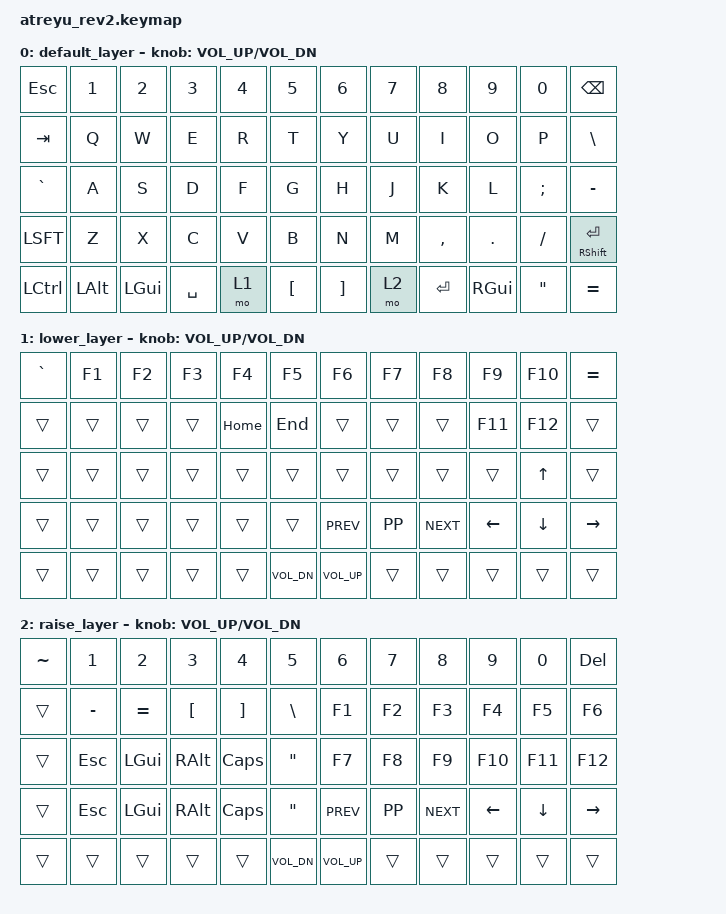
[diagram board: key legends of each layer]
/*
 * Copyright (c) 2020 The ZMK Contributors
 *
 * SPDX-License-Identifier: MIT
 */

#include <behaviors.dtsi>
#include <dt-bindings/zmk/keys.h>
#include <dt-bindings/zmk/bt.h>
#include <dt-bindings/zmk/rgb.h>

/ {
        keymap {
                compatible = "zmk,keymap";

                default_layer {
                        bindings = <
   &kp ESC   &kp N1  &kp N2   &kp N3   &kp N4  &kp N5    &kp N6 &kp N7    &kp N8    &kp N9  &kp N0   &kp BSPC
   &kp TAB   &kp Q   &kp W    &kp E    &kp R   &kp T     &kp Y  &kp U     &kp I     &kp O   &kp P    &kp BSLH
   &kp GRAVE &kp A   &kp S    &kp D    &kp F   &kp G     &kp H  &kp J     &kp K     &kp L   &kp SEMI &kp MINUS
   &kp LSFT  &kp Z   &kp X    &kp C    &kp V   &kp B     &kp N  &kp M     &kp COMMA &kp DOT &kp FSLH &mt RSHFT RET
   &kp LCTL &kp LALT &kp LGUI &kp SPACE  &mo 1 &kp LBKT &kp RBKT &mo 2   &kp RET   &kp RGUI &kp DQT &kp EQUAL
                        >;
			sensor-bindings = <&inc_dec_kp C_VOL_UP C_VOL_DN>;
                };

                lower_layer {
                        bindings = <
   &kp GRAVE &kp F1 &kp F2 &kp F3 &kp F4 &kp F5   &kp F6        &kp F7    &kp F8   &kp F9    &kp F10     &kp EQUAL
   &trans    &trans &trans &trans &kp HOME &kp END       &trans    &trans    &trans    &kp F11    &kp F12  &trans
   &trans    &trans &trans &trans &trans   &trans        &trans    &trans    &trans    &trans     &kp UP    &trans
   &trans    &trans &trans &trans &trans   &trans       &kp K_PREV &kp K_PP &kp K_NEXT &kp LEFT   &kp DOWN  &kp RIGHT
   &trans    &trans &trans &trans &trans  &kp K_VOL_DN &kp K_VOL_UP &trans    &trans    &trans     &trans    &trans
                        >;
			sensor-bindings = <&inc_dec_kp C_VOL_UP C_VOL_DN>;
                };

                raise_layer {
// -----------------------------------------------------------------------------------------
// |    |  1  |  2  |  3  |  4  |  5  |   |  6  |  7  |  8  |  9  |  0  | DEL |
// |    |  -  |  =  |  [  |  ]  |  \  |   | F1  | F2  | F3  | F4  | F5  | F6  |
// |    | ESC | GUI | ALT | CAPS|  "  |   | F7  | F8  | F9  | F10 | F11 | F12 |
//                       |     | ADJ | BKSP |    |     |
                        bindings = <
   &kp TILDE &kp N1    &kp N2    &kp N3    &kp N4    &kp N5        &kp N6       &kp N7    &kp N8    &kp N9    &kp N0    &kp DEL
   &trans    &kp MINUS &kp EQUAL &kp LBKT  &kp RBKT  &kp BSLH      &kp F1       &kp F2    &kp F3    &kp F4    &kp F5    &kp F6
   &trans    &kp ESC   &kp LGUI  &kp RALT  &kp CLCK  &kp DQT       &kp F7       &kp F8    &kp F9    &kp F10   &kp F11   &kp F12
   &trans    &kp ESC   &kp LGUI  &kp RALT  &kp CLCK  &kp DQT       &kp K_PREV   &kp K_PP &kp K_NEXT &kp LEFT   &kp DOWN  &kp RIGHT
   &trans    &trans &trans &trans &trans   &kp K_VOL_DN          &kp K_VOL_UP &trans    &trans    &trans     &trans    &trans
//                                &trans      &trans       &kp BSPC        &trans      &trans
                        >;
			sensor-bindings = <&inc_dec_kp C_VOL_UP C_VOL_DN>;
                };
//                adjust_layer {
// -----------------------------------------------------------------------------------------
// | RGB BRI+ | RGB SAT+ | RGB HUE+ | RGB ANI+ |    | RGB TOG |   |  BT1  | BT2 | BT3 | BT4 | BT5 | BT CLR |
// | RGB BRI- | RGB SAT- | RGB HUE- | RGB ANI- |    |         |   |       |     |     |     |     |        |
// |          |          |          |          |    |         |   | RESET |     |     |     |     |        |
//                                              |     |     |     |     |     |
//                        bindings = <
//   &rgb_ug RGB_BRI &rgb_ug RGB_SAI &rgb_ug RGB_HUI &rgb_ug RGB_EFF &none &rgb_ug RGB_TOG    &bt BT_SEL 0 &bt BT_SEL 1 &bt BT_SEL 2 &bt BT_SEL 3 &bt BT_SEL 4 &bt BT_CLR
//   &rgb_ug RGB_BRD &rgb_ug RGB_SAD &rgb_ug RGB_HUD &rgb_ug RGB_EFR &none &none              &none        &none        &none        &none        &none        &none
//   &none           &none           &none           &none           &none &none              &reset       &none        &none        &none        &none        &none
//                                                             &trans      &trans       &tog 3        &trans      &trans
//                        >;
//               };
        };
};
